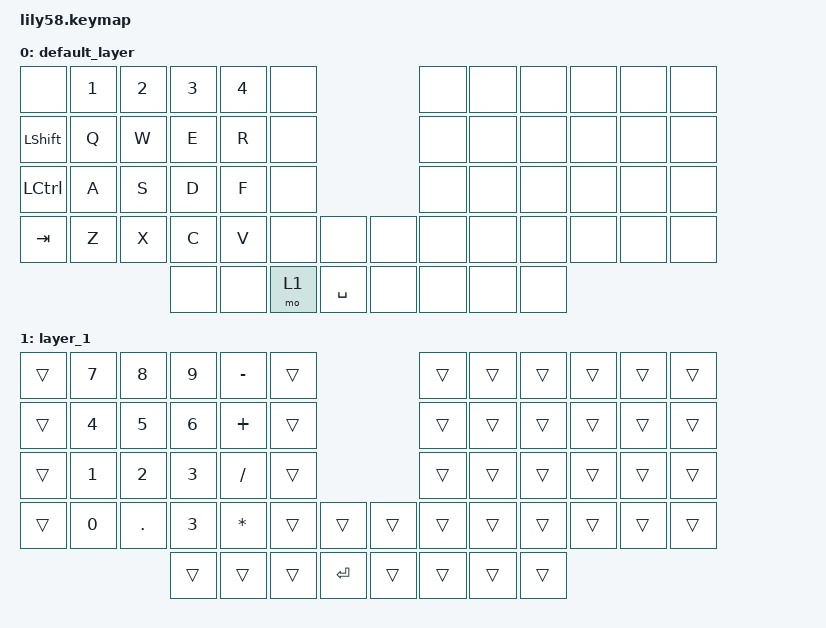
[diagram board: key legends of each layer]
/*
 * Copyright (c) 2020 The ZMK Contributors
 *
 * SPDX-License-Identifier: MIT
 */

#include <behaviors.dtsi>
#include <dt-bindings/zmk/keys.h>

/ {
    keymap {
        compatible = "zmk,keymap";

        default_layer {
            bindings = <
&none             &kp N1  &kp N2  &kp N3  &kp N4  &none                      &none  &none  &none  &none  &none  &none
&kp LSHFT         &kp Q   &kp W   &kp E   &kp R   &none                      &none  &none  &none  &none  &none  &none
&kp LEFT_CONTROL  &kp A   &kp S   &kp D   &kp F   &none                      &none  &none  &none  &none  &none  &none
&kp TAB           &kp Z   &kp X   &kp C   &kp V   &none  &none        &none  &none  &none  &none  &none  &none  &none
                                  &none   &none   &mo 1  &kp SPACE    &none  &none  &none  &none
            >;
        };

        layer_1 {
            bindings = <
&trans  &kp N7        &kp N8        &kp N9        &kp MINUS  &trans                       &trans  &trans  &trans  &trans  &trans  &trans
&trans  &kp NUMBER_4  &kp N5        &kp NUMBER_6  &kp PLUS   &trans                       &trans  &trans  &trans  &trans  &trans  &trans
&trans  &kp NUMBER_1  &kp NUMBER_2  &kp NUMBER_3  &kp SLASH  &trans                       &trans  &trans  &trans  &trans  &trans  &trans
&trans  &kp N0        &kp PERIOD    &kp NUMBER_3  &kp ASTRK  &trans  &trans       &trans  &trans  &trans  &trans  &trans  &trans  &trans
                                    &trans        &trans     &trans  &kp ENTER    &trans  &trans  &trans  &trans
            >;
        };
    };
};
